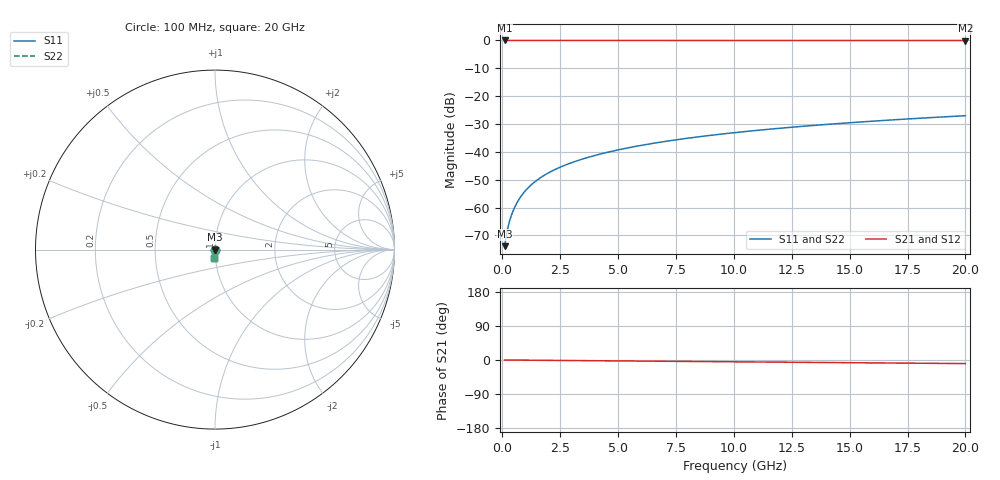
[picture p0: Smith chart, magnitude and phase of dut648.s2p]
! Touchstone file exported from HFSS 2026.1.0
!  File:  C:/ffzhzh/LocalFiles/Ansys_Project_Files/temp_train_TSV_648_1783026596_51716.aedt
!  Generated:  05:11:41 AM Jul  3, 2026
!  Design:  TSV
!  Project:  temp_train_TSV_648_1783026596_51716
! Variables:
!  h_bsmrdl = 2um
!  h_ox = 20um
!  h_rdl = 5um
!  h_sub = 95.97um
!  h_tmrdl = 5um
!  h_tsv = 95.97um
!  h_via = 3um
!  l_bsmrdl = 300um
!  l_sub = 424.88um
!  l_tmrdl = 200um
!  m_sub = 200um
!  pitch = 38.99um
!  r_tsv = 12.44um
!  s_tmrdl = 10um
!  w_bsmrdl = 18um
!  w_sub = 500um
!  w_tmrdl = 12um
!  x_tsv_center1 = 206um
!  x_tsv_center2 = 524um
!  x_tsv_center3 = 736um
!  x_tsv_center4 = 1054um
!  x_tsv_center5 = 1266um
!  x_tsv_center6 = 1584um
# GHz S MA R 50.000000
! Terminal data exported
! Port[1] = TSV1_1_T1
! Port[2] = TSV1_1_T2
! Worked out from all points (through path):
!   200 points, 100 MHz to 20 GHz, reference 50 ohm
!   highest |S21| = 0.00 dB at 100 MHz (marker M1); lowest = 0.0 dB at 20 GHz (marker M2)
!   group delay of S21, straight-line fit = 1.31 ps
!   lowest |S11| = -73.8 dB at 100 MHz (marker M3), VSWR 1.00, Z = 50 - j0.017 ohm
!   |S11| at or under -10 dB: start of sweep to end of sweep
!   |S22| runs from -73.8 to -27.0 dB; largest |S21 - S12| = 6.2e-15
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0.1  0.0002033 -56.9  0.9999 -0.1  0.9999 -0.1  0.0002033 -56.9
! Gamma 0 0 0 0
! Port Impedance 50 0 50 0
0.2  0.0003681 -69.7  0.9999 -0.1  0.9999 -0.1  0.0003681 -69.7
0.3  0.0005493 -73.9  0.9998 -0.2  0.9998 -0.2  0.0005493 -73.9
0.4  0.0007416 -75.9  0.9998 -0.2  0.9998 -0.2  0.0007416 -75.9
0.5  0.0009426 -77.2  0.9998 -0.2  0.9998 -0.2  0.0009426 -77.2
0.7  0.001363 -78.9  0.9997 -0.3  0.9997 -0.3  0.001363 -78.9
0.8  0.001578 -79.7  0.9997 -0.4  0.9997 -0.4  0.001578 -79.7
1  0.002015 -80.9  0.9997 -0.5  0.9997 -0.5  0.002015 -80.9
1.2  0.002455 -82.0  0.9996 -0.6  0.9996 -0.6  0.002455 -82.0
1.4  0.002896 -82.9  0.9996 -0.7  0.9996 -0.7  0.002896 -82.9
1.7  0.003557 -83.9  0.9996 -0.8  0.9996 -0.8  0.003557 -83.9
2  0.004218 -84.8  0.9995 -1.0  0.9995 -1.0  0.004218 -84.8
2.7  0.00576 -86.2  0.9995 -1.3  0.9995 -1.3  0.00576 -86.2
3.5  0.007527 -87.3  0.9994 -1.7  0.9994 -1.7  0.007527 -87.3
4.2  0.00908 -88.0  0.9993 -2.0  0.9993 -2.0  0.00908 -88.0
5  0.01086 -88.7  0.9992 -2.4  0.9992 -2.4  0.01086 -88.7
6.8  0.01489 -90.1  0.9991 -3.2  0.9991 -3.2  0.01489 -90.1
8.3  0.01827 -91.1  0.9989 -3.9  0.9989 -3.9  0.01827 -91.1
10.1  0.02232 -92.2  0.9988 -4.8  0.9988 -4.8  0.02232 -92.2
13.4  0.02976 -94.2  0.9984 -6.3  0.9984 -6.3  0.02976 -94.2
16.7  0.03719 -95.9  0.998 -7.9  0.998 -7.9  0.03719 -95.9
20  0.04463 -97.6  0.9976 -9.4  0.9976 -9.4  0.04463 -97.6
